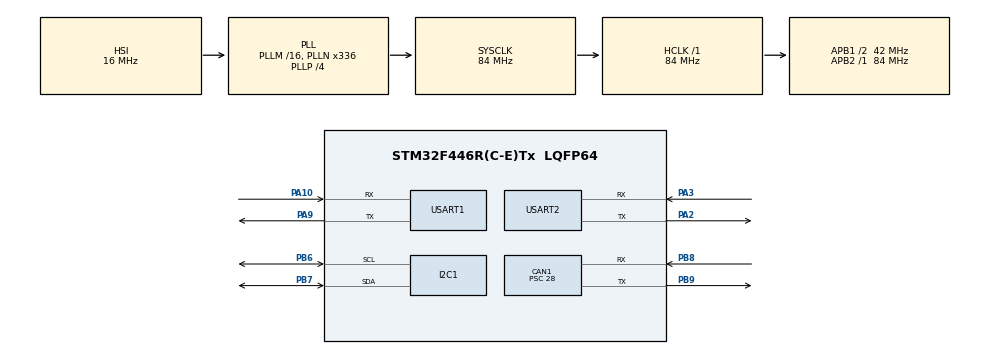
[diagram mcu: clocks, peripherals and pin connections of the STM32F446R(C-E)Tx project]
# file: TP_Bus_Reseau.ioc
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CAN1.ABOM=DISABLE
CAN1.AWUM=DISABLE
CAN1.BS1=CAN_BS1_1TQ
CAN1.BS2=CAN_BS2_1TQ
CAN1.CalculateBaudRate=499999
CAN1.CalculateTimeBit=2000
CAN1.CalculateTimeQuantum=666.6666666666667
CAN1.NART=DISABLE
CAN1.Prescaler=28
CAN1.RFLM=DISABLE
CAN1.TTCM=ENABLE
CAN1.TXFP=DISABLE
Mcu.Family=STM32F4
Mcu.Name=STM32F446R(C-E)Tx
Mcu.Package=LQFP64
NVIC.PriorityGroup=NVIC_PRIORITYGROUP_0
NVIC.USART1_IRQn=true\:0\:0\:false\:false\:true\:true\:true\:true
NVIC.USART2_IRQn=true\:0\:0\:false\:false\:true\:true\:true\:true
PA10.Mode=Asynchronous
PA10.Signal=USART1_RX
PA2.Mode=Asynchronous
PA2.Signal=USART2_TX
PA3.Mode=Asynchronous
PA3.Signal=USART2_RX
PA9.Mode=Asynchronous
PA9.Signal=USART1_TX
PB6.Mode=I2C
PB6.Signal=I2C1_SCL
PB7.Mode=I2C
PB7.Signal=I2C1_SDA
PB8.Mode=CAN_Activate
PB8.Signal=CAN1_RX
PB9.Mode=CAN_Activate
PB9.Signal=CAN1_TX
ProjectManager.HeapSize=0x200
ProjectManager.StackSize=0x400
ProjectManager.TargetToolchain=STM32CubeIDE
RCC.AHBFreq_Value=84000000
RCC.APB1CLKDivider=RCC_HCLK_DIV2
RCC.APB1Freq_Value=42000000
RCC.APB1TimFreq_Value=84000000
RCC.APB2Freq_Value=84000000
RCC.APB2TimFreq_Value=84000000
RCC.CortexFreq_Value=84000000
RCC.FLatency-AdvancedSettings=FLASH_LATENCY_2
RCC.HCLKFreq_Value=84000000
RCC.HSE_VALUE=8000000
RCC.HSI_VALUE=16000000
RCC.LSE_VALUE=32768
RCC.PLLN=336
RCC.PLLP=RCC_PLLP_DIV4
RCC.SYSCLKFreq_VALUE=84000000
RCC.SYSCLKSource=RCC_SYSCLKSOURCE_PLLCLK
RCC.USBFreq_Value=168000000
RCC.VCOOutputFreq_Value=336000000
USART1.VirtualMode=VM_ASYNC
USART2.VirtualMode=VM_ASYNC
board=NUCLEO-F446RE

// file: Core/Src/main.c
/* USER CODE BEGIN Header */
/**
 ******************************************************************************
 * @file           : main.c
 * @brief          : Main program body
 ******************************************************************************
 * @attention
 *
 * Copyright (c) 2022 STMicroelectronics.
 * All rights reserved.
 *
 * This software is licensed under terms that can be found in the LICENSE file
 * in the root directory of this software component.
 * If no LICENSE file comes with this software, it is provided AS-IS.
 *
 ******************************************************************************
 */
/* USER CODE END Header */
#include "main.h"
#include "can.h"
#include "i2c.h"
#include "usart.h"
#include "gpio.h"

/* USER CODE BEGIN Includes */
#include <stdio.h>

#include "capteurBMP.h"
/* USER CODE END Includes */

/* USER CODE BEGIN PD */
#define UART_TX_BUFFER_SIZE 300
#define UART_RX_BUFFER_SIZE 1
#define CMD_BUFFER_SIZE 64
#define MAX_ARGS 9
// LF = line feed, saut de ligne
#define ASCII_LF 0x0A
// CR = carriage return, retour chariot
#define ASCII_CR 0x0D
// DEL = delete
#define ASCII_DEL 0x7F
/* USER CODE END PD */

/* USER CODE BEGIN PV */
uint8_t prompt[]="\r\nuser@Nucleo-F446>>";
uint8_t started[]=
		"\r\n*-----------------------------*"
		"\r\n| Welcome on Nucleo-F446 |"
		"\r\n*-----------------------------*"
		"\r\n";
uint8_t newline[]="\r\n";
uint8_t cmdNotFound[]="Command not found\r\n";
uint32_t uartRxReceived;
uint8_t uartRxBuffer[UART_RX_BUFFER_SIZE];
uint8_t uartTxBuffer[UART_TX_BUFFER_SIZE];
uint8_t commandList[] =
		"\r\nhelp :		Affiche cette liste"
		"\r\nhello :		Try to say hello"
		"\r\nGET_T :		Température compensée sur 10 caractères"
		"\r\nGET_P :		Pression compensée sur 10 caractères"
		"\r\nSET_K = ... :	Fixe le coefficient K (en 1/100e)"
		"\r\nGET_K :		Coefficient K sur 10 caractères"
		"\r\nGET_A :		Angle sur 10 caractères";
uint8_t BMP280_I2Caddr = 0x77<<1;
uint8_t calibrationParam[calibSize];
/* USER CODE END PV */

void SystemClock_Config(void);
/* USER CODE BEGIN PFP */
void I2C1_test(void);
void BMPconfig(void);
void BMPcalibrate(char affiche);
void affichMes(char compenser);
double bmp280_compensate_T_double(BMP280_S32_t adc_T);
double bmp280_compensate_P_double(BMP280_S32_t adc_P);
/* USER CODE END PFP */

/* USER CODE BEGIN 0 */
void I2C1_test(void){
	int I2C_transmit = 0xD0;
	int I2C_receive = 0x00000000;

	HAL_I2C_Master_Transmit(&hi2c1,BMP280_I2Caddr, &I2C_transmit, 1, HAL_MAX_DELAY);
	HAL_I2C_Master_Receive(&hi2c1, BMP280_I2Caddr, &I2C_receive, 1, HAL_MAX_DELAY);

	printf("I2C1.1 : '%x'\r\n", I2C_receive); //affiche <<I2C1.1 : '58'>>
}

void BMPconfig(){
	uint8_t normalMode = 0b11;
	uint8_t presOvSamp_x16 = 0b101<<2;
	uint8_t tempOvSamp_x02 = 0b010<<5;
	uint8_t ctrl_meas = 0xF4;
	uint8_t I2C_transmitMsg[2] = {ctrl_meas, tempOvSamp_x02|presOvSamp_x16|normalMode};
	uint8_t I2C_receiveMsg[2];

	HAL_I2C_Master_Transmit(&hi2c1,BMP280_I2Caddr, I2C_transmitMsg, 2, HAL_MAX_DELAY);
	HAL_I2C_Master_Receive(&hi2c1, BMP280_I2Caddr, I2C_receiveMsg, 1, HAL_MAX_DELAY);
	printf("BMPconfig: '%x'\r\n", I2C_receiveMsg[0]); //affiche <<BMPconfig: '57'>>
}

void BMPcalibrate(char affiche){
	uint8_t I2C_transmitMsgV = calib00;
	uint8_t I2C_receiveMsg[calibSize];
	int i;

	HAL_I2C_Master_Transmit(&hi2c1,BMP280_I2Caddr, &I2C_transmitMsgV, 1, HAL_MAX_DELAY);
	HAL_I2C_Master_Receive(&hi2c1, BMP280_I2Caddr, I2C_receiveMsg, calibSize, HAL_MAX_DELAY);

	for(i=0;i<calibSize;i++){
		calibrationParam[i] = I2C_receiveMsg[i];
		if (affiche) printf("Config register %x: '%x'\r\n", calib00 + i, I2C_receiveMsg[i]);
	}
}

void affichMes(char compenser){
	uint8_t I2C_transmitMsgV = press_msb;
	uint8_t I2C_receiveMsg[measureSize];
	int measTemp, measPress, realTemp, realPress;

	HAL_I2C_Master_Transmit(&hi2c1,BMP280_I2Caddr, &I2C_transmitMsgV, 1, HAL_MAX_DELAY);
	HAL_I2C_Master_Receive(&hi2c1, BMP280_I2Caddr, I2C_receiveMsg, measureSize, HAL_MAX_DELAY);
	measPress = I2C_receiveMsg[0]<<(12)|I2C_receiveMsg[1]<<(4)|I2C_receiveMsg[2]>>(4);
	measTemp = I2C_receiveMsg[3]<<(12)|I2C_receiveMsg[4]<<(4)|I2C_receiveMsg[5]>>(4);
	if (!compenser){
		printf("pression: '%x'\r\n", measPress);
		printf("temperature: '%x'\r\n", measTemp);
	}
	else{
		//measTemp = 519888;
		//measPress = 415148;

		realTemp = bmp280_compensate_T_double(measTemp);
		realPress = bmp280_compensate_P_double(measPress);

		printf("pression: '%d'\r\n", realPress/25600);
		printf("temperature: '%d'\r\n", realTemp/100);
	}
}

// t_fine carries fine temperature as global value
BMP280_S32_t t_fine;
// Returns temperature in DegC, resolution is 0.01 DegC. Output value of “5123�? equals 51.23 DegC.
// Returns temperature in DegC, double precision. Output value of “51.23” equals 51.23 DegC.
// t_fine carries fine temperature as global value
BMP280_S32_t t_fine;
double bmp280_compensate_T_double(BMP280_S32_t adc_T)
{
	unsigned short dig_T1 = calibrationParam[0] | calibrationParam[1] <<16;
	signed short dig_T2 = calibrationParam[2] | calibrationParam[3] <<16;
	signed short dig_T3 = calibrationParam[4] | (calibrationParam[5] <<16);

	double var1, var2, T;
	var1 = (((double)adc_T)/16384.0-((double)dig_T1)/1024.0)*((double)dig_T2);
	var2 = ((((double)adc_T)/131072.0-((double)dig_T1)/8192.0)*
			(((double)adc_T)/131072.0-((double) dig_T1)/8192.0))*((double)dig_T3);
	t_fine = (BMP280_S32_t)(var1 + var2);
	T = (var1 + var2) / 5120.0;
	return T;
}
// Returns pressure in Pa as double. Output value of “96386.2” equals 96386.2 Pa = 963.862 hPa
double bmp280_compensate_P_double(BMP280_S32_t adc_P)
{

	unsigned short dig_P1 = calibrationParam[6] | calibrationParam[7] <<16;
	signed short dig_P2 = calibrationParam[8] | calibrationParam[9] <<16;
	signed short dig_P3 = calibrationParam[10] | (calibrationParam[11] <<16);
	signed short dig_P4 = calibrationParam[12] | calibrationParam[13] <<16;
	signed short dig_P5 = calibrationParam[14] | calibrationParam[15] <<16;
	signed short dig_P6 = calibrationParam[16] | (calibrationParam[17] <<16);
	signed short dig_P7 = calibrationParam[18] | calibrationParam[19] <<16;
	signed short dig_P8 = calibrationParam[20] | calibrationParam[21] <<16;
	signed short dig_P9 = calibrationParam[22] | (calibrationParam[23] <<16);

	double var1, var2, p;
	var1 = ((double)t_fine/2.0) - 64000.0;
	var2 = var1 * var1 * ((double)dig_P6) / 32768.0;
	var2 = var2 + var1 * ((double)dig_P5) * 2.0;
	var2 = (var2/4.0)+(((double)dig_P4) * 65536.0);
	var1 = (((double)dig_P3) * var1 * var1 / 524288.0 + ((double)dig_P2) * var1) / 524288.0;
	var1 = (1.0 + var1 / 32768.0)*((double)dig_P1);
	if (var1 == 0.0)
	{
		return 0; // avoid exception caused by division by zero
	}
	p = 1048576.0 - (double)adc_P;
	p = (p - (var2 / 4096.0)) * 6250.0 / var1;
	var1 = ((double)dig_P9) * p * p / 2147483648.0;
	var2 = p * ((double)dig_P8) / 32768.0;
	p = p + (var1 + var2 + ((double)dig_P7)) / 16.0;
	return p;
}

/* USER CODE END 0 */

int main(void)
{
	/* USER CODE BEGIN 1 */
	char	 	cmdBuffer[CMD_BUFFER_SIZE];
	int 		idx_cmd;
	char* 		argv[MAX_ARGS];
	int		 	argc = 0;
	char*		token;
	int 		newCmdReady = 0;
	int			speedValue = 0;
	/* USER CODE END 1 */

	/* MCU Configuration--------------------------------------------------------*/

	/* Reset of all peripherals, Initializes the Flash interface and the Systick. */
	HAL_Init();

	/* Configure the system clock */
	SystemClock_Config();

	/* Initialize all configured peripherals */
	MX_GPIO_Init();
	MX_CAN1_Init();
	MX_I2C1_Init();
	MX_USART1_UART_Init();
	MX_USART2_UART_Init();
	/* USER CODE BEGIN 2 */

	memset(argv,NULL,MAX_ARGS*sizeof(char*));
	memset(cmdBuffer,NULL,CMD_BUFFER_SIZE*sizeof(char));
	memset(uartRxBuffer,NULL,UART_RX_BUFFER_SIZE*sizeof(char));
	memset(uartTxBuffer,NULL,UART_TX_BUFFER_SIZE*sizeof(char));

	HAL_UART_Receive_IT(&huart1, uartRxBuffer, UART_RX_BUFFER_SIZE);
	HAL_Delay(10);
	HAL_UART_Transmit(&huart1, started, sizeof(started), HAL_MAX_DELAY);
	HAL_UART_Transmit(&huart1, prompt, sizeof(prompt), HAL_MAX_DELAY);

	char afficheurCompteur = 0;

	HAL_CAN_Start(&hcan1);

	/* USER CODE END 2 */

	/* Infinite loop */
	/* USER CODE BEGIN WHILE */

	printf("\r\nHelloWorld!\r\n\n\n");
	I2C1_test();
	BMPconfig();
	BMPcalibrate(1);

	uint8_t pData = 0;

	//Interface CAN :
	/*
	CAN_TxHeaderTypeDef Header =  { .StdId = 0x60,
			.ExtId = 0,
			.IDE = CAN_ID_STD,
			.RTR = CAN_RTR_DATA,
			.DLC = 3,
			.TransmitGlobalTime = DISABLE};

	uint8_t aData[] = {0, 90, 0x01};
	uint32_t pTxMailbox[0];

	uint32_t status1 = 12;
	uint32_t status2 = 12;
	printf("%d, %d\r\n",status1, status2);
	*/

	while (1)
	{

		//UART 2

		if(uartRxReceived){
			switch(uartRxBuffer[0]){
			// Nouvelle ligne, instruction à traiter
			case ASCII_CR:
				HAL_UART_Transmit(&huart1, newline, sizeof(newline), HAL_MAX_DELAY);
				cmdBuffer[idx_cmd] = '\0';
				argc = 0;
				token = strtok(cmdBuffer, " ");
				while(token!=NULL){
					argv[argc++] = token;
					token = strtok(NULL, " ");
				}

				idx_cmd = 0;
				newCmdReady = 1;
				break;

				// Suppression du dernier caractère
			case ASCII_DEL:
				cmdBuffer[idx_cmd--] = '\0';
				HAL_UART_Transmit(&huart1, uartRxBuffer, UART_RX_BUFFER_SIZE, HAL_MAX_DELAY);
				break;

				// Nouveau caractère
			default:
				cmdBuffer[idx_cmd++] = uartRxBuffer[0];
				HAL_UART_Transmit(&huart1, uartRxBuffer, UART_RX_BUFFER_SIZE, HAL_MAX_DELAY);
			}
			uartRxReceived = 0;
		}

		if(newCmdReady){

			// Showing commands
			if(strcmp(argv[0],"help")==0){
				sprintf(uartTxBuffer,commandList);
				HAL_UART_Transmit(&huart1, uartTxBuffer, sizeof(commandList), HAL_MAX_DELAY);
			}

			// Saying hello
			else if(strcmp(argv[0],"hello")==0){
				sprintf(uartTxBuffer,"Hello human !");
				HAL_UART_Transmit(&huart1, uartTxBuffer, strlen(uartTxBuffer), HAL_MAX_DELAY);
			}

			// Get temperature
			else if(strcmp(argv[0],"GET_T")==0){
				uint8_t I2C_transmitMsgV = press_msb;
				uint8_t I2C_receiveMsg[measureSize];
				int measTemp;

				HAL_I2C_Master_Transmit(&hi2c1,BMP280_I2Caddr, &I2C_transmitMsgV, 1, HAL_MAX_DELAY);
				HAL_I2C_Master_Receive(&hi2c1, BMP280_I2Caddr, I2C_receiveMsg, measureSize, HAL_MAX_DELAY);
				measTemp = I2C_receiveMsg[3]<<(12)|I2C_receiveMsg[4]<<(4)|I2C_receiveMsg[5]>>(4);
				realTemp = bmp280_compensate_T_double(measTemp);

				sprintf(uartTxBuffer,"T = %x°C\n\r", realTemp);
				HAL_UART_Transmit(&huart1, uartTxBuffer, strlen(uartTxBuffer), HAL_MAX_DELAY);
			}

			// Get pressure
			else if(strcmp(argv[0],"GET_P")==0){
				int measPress;
				uint8_t I2C_transmitMsgV = press_msb;
				uint8_t I2C_receiveMsg[measureSize];

				HAL_I2C_Master_Transmit(&hi2c1,BMP280_I2Caddr, &I2C_transmitMsgV, 1, HAL_MAX_DELAY);
				HAL_I2C_Master_Receive(&hi2c1, BMP280_I2Caddr, I2C_receiveMsg, measureSize, HAL_MAX_DELAY);
				measPress = I2C_receiveMsg[0]<<(12)|I2C_receiveMsg[1]<<(4)|I2C_receiveMsg[2]>>(4);
				realPress = bmp280_compensate_P_double(measPress);

				sprintf(uartTxBuffer,"P = %xPa\n\r", realPress);
				HAL_UART_Transmit(&huart1, uartTxBuffer, strlen(uartTxBuffer), HAL_MAX_DELAY);

			}

			// Set K
			else if(strcmp(argv[0],"SET_K")==0){
				sprintf(uartTxBuffer,"SET_K=OK");
				HAL_UART_Transmit(&huart1, uartTxBuffer, strlen(uartTxBuffer), HAL_MAX_DELAY);
			}

			// Get coefficent K
			else if(strcmp(argv[0],"GET_K")==0){
				sprintf(uartTxBuffer,"K = ...");
				HAL_UART_Transmit(&huart1, uartTxBuffer, strlen(uartTxBuffer), HAL_MAX_DELAY);
			}

			// Get angle
			else if(strcmp(argv[0],"GET_A")==0){
				sprintf(uartTxBuffer,"A = ...°");
				HAL_UART_Transmit(&huart1, uartTxBuffer, strlen(uartTxBuffer), HAL_MAX_DELAY);
			}

			//Command not found
			else if(strcmp(argv[0],"get")==0)
			{
				HAL_UART_Transmit(&huart1, cmdNotFound, sizeof(cmdNotFound), HAL_MAX_DELAY);
			}
			else{
				HAL_UART_Transmit(&huart1, cmdNotFound, sizeof(cmdNotFound), HAL_MAX_DELAY);
			}
			HAL_UART_Transmit(&huart1, prompt, sizeof(prompt), HAL_MAX_DELAY);
			newCmdReady = 0;
		}

		/*
		//Interface CAN :

		if(HAL_OK != HAL_CAN_AddTxMessage(&hcan1, &Header, aData, pTxMailbox)){
			printf("error(1)\r\n");
		}
		status1 = HAL_CAN_IsTxMessagePending(&hcan1, pTxMailbox);
		//HAL_Delay(1000);
		HAL_Delay(1000);

		aData[0] = 1;
		status2 = HAL_CAN_IsTxMessagePending(&hcan1, pTxMailbox);
		if(HAL_OK != HAL_CAN_AddTxMessage(&hcan1, &Header, aData, pTxMailbox)){
			printf("error (2)\r\n");
		}
		HAL_Delay(1000);
		aData[0] = 0;
		printf("%d,%d\r\n",status1, status2);

		*/

		//Strange UART

		//HAL_UART_Receive(USART1, &pData, sizeof(uint8_t), HAL_MAX_DELAY);
		//printf("%d lettre: %c\r\n",afficheurCompteur, pData);
		//HAL_Delay(2000);
		//HAL_UART_Transmit(USART1, &pData, sizeof(uint8_t), HAL_MAX_DELAY);

		//I2C :
		/*
		affichMes(0);
		affichMes(1);
		afficheurCompteur = 1 - afficheurCompteur;
		printf("%d\r\n", afficheurCompteur);
		HAL_Delay(2000);
		 */

		/* USER CODE END WHILE */

	}
}

void SystemClock_Config(void)
{
	RCC_OscInitTypeDef RCC_OscInitStruct = {0};
	RCC_ClkInitTypeDef RCC_ClkInitStruct = {0};

	/** Configure the main internal regulator output voltage
	 */
	__HAL_RCC_PWR_CLK_ENABLE();
	__HAL_PWR_VOLTAGESCALING_CONFIG(PWR_REGULATOR_VOLTAGE_SCALE3);

	/** Initializes the RCC Oscillators according to the specified parameters
	 * in the RCC_OscInitTypeDef structure.
	 */
	RCC_OscInitStruct.OscillatorType = RCC_OSCILLATORTYPE_HSI;
	RCC_OscInitStruct.HSIState = RCC_HSI_ON;
	RCC_OscInitStruct.HSICalibrationValue = RCC_HSICALIBRATION_DEFAULT;
	RCC_OscInitStruct.PLL.PLLState = RCC_PLL_ON;
	RCC_OscInitStruct.PLL.PLLSource = RCC_PLLSOURCE_HSI;
	RCC_OscInitStruct.PLL.PLLM = 16;
	RCC_OscInitStruct.PLL.PLLN = 336;
	RCC_OscInitStruct.PLL.PLLP = RCC_PLLP_DIV4;
	RCC_OscInitStruct.PLL.PLLQ = 2;
	RCC_OscInitStruct.PLL.PLLR = 2;
	if (HAL_RCC_OscConfig(&RCC_OscInitStruct) != HAL_OK)
	{
		Error_Handler();
	}

	/** Initializes the CPU, AHB and APB buses clocks
	 */
	RCC_ClkInitStruct.ClockType = RCC_CLOCKTYPE_HCLK|RCC_CLOCKTYPE_SYSCLK
			|RCC_CLOCKTYPE_PCLK1|RCC_CLOCKTYPE_PCLK2;
	RCC_ClkInitStruct.SYSCLKSource = RCC_SYSCLKSOURCE_PLLCLK;
	RCC_ClkInitStruct.AHBCLKDivider = RCC_SYSCLK_DIV1;
	RCC_ClkInitStruct.APB1CLKDivider = RCC_HCLK_DIV2;
	RCC_ClkInitStruct.APB2CLKDivider = RCC_HCLK_DIV1;

	if (HAL_RCC_ClockConfig(&RCC_ClkInitStruct, FLASH_LATENCY_2) != HAL_OK)
	{
		Error_Handler();
	}
}

/* USER CODE BEGIN 4 */
void HAL_UART_RxCpltCallback (UART_HandleTypeDef * huart){
	uartRxReceived = 1;
	HAL_UART_Receive_IT(&huart1, uartRxBuffer, UART_RX_BUFFER_SIZE);
}
/* USER CODE END 4 */

void Error_Handler(void)
{
	__disable_irq();
	while (1)
	{
	}
}
